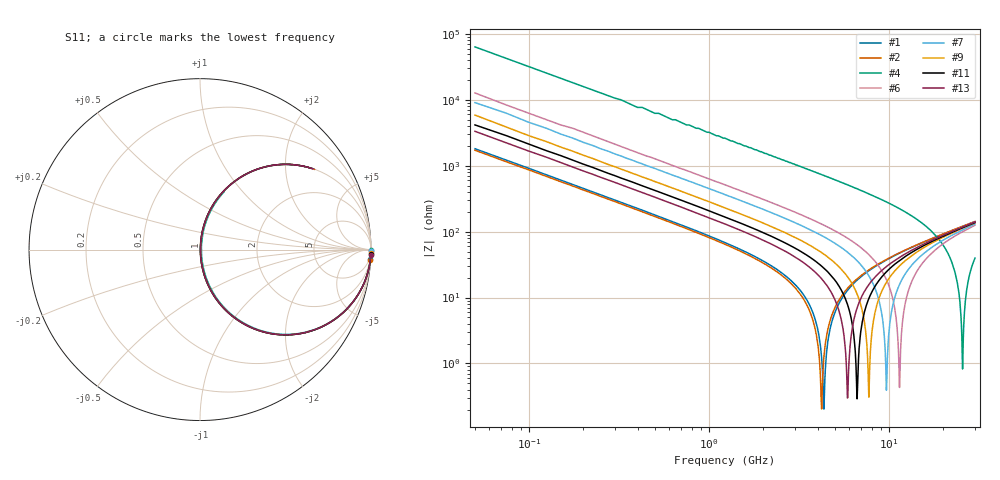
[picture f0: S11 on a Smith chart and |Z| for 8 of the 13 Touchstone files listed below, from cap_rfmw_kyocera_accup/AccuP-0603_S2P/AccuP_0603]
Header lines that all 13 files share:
!	AVX Thin Film Operation 	Date: April 2014
!	Description: Accu-P® Series, Thin Film  SMD RF Capacitor
# MHZ S MA R 50
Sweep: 50 MHz to 30 GHz
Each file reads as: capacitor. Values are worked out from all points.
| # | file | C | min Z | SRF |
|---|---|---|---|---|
| 1 | C0603SEA75.s2p | 1.75 pF | 203 mohm | 4.338 GHz |
| 2 | C0603SEA85.s2p | 1.85 pF | 204 mohm | 4.212 GHz |
| 3 | C0603SEA95.s2p | 1.95 pF | 197 mohm | 4.015 GHz |
| 4 | C0603SEr05.s2p | 50 fF | 826 mohm | 25.59 GHz |
| 5 | C0603SEr15.s2p | 150 fF | 518 mohm | 14.8 GHz |
| 6 | C0603SEr25.s2p | 250 fF | 433 mohm | 11.42 GHz |
| 7 | C0603SEr35.s2p | 350 fF | 392 mohm | 9.664 GHz |
| 8 | C0603SEr45.s2p | 448 fF | 321 mohm | 8.511 GHz |
| 9 | C0603SEr55.s2p | 550 fF | 308 mohm | 7.714 GHz |
| 10 | C0603SEr65.s2p | 652 fF | 320 mohm | 7.1 GHz |
| 11 | C0603SEr75.s2p | 750 fF | 291 mohm | 6.636 GHz |
| 12 | C0603SEr85.s2p | 849 fF | 298 mohm | 6.205 GHz |
| 13 | C0603SEr95.s2p | 950 fF | 299 mohm | 5.877 GHz |
